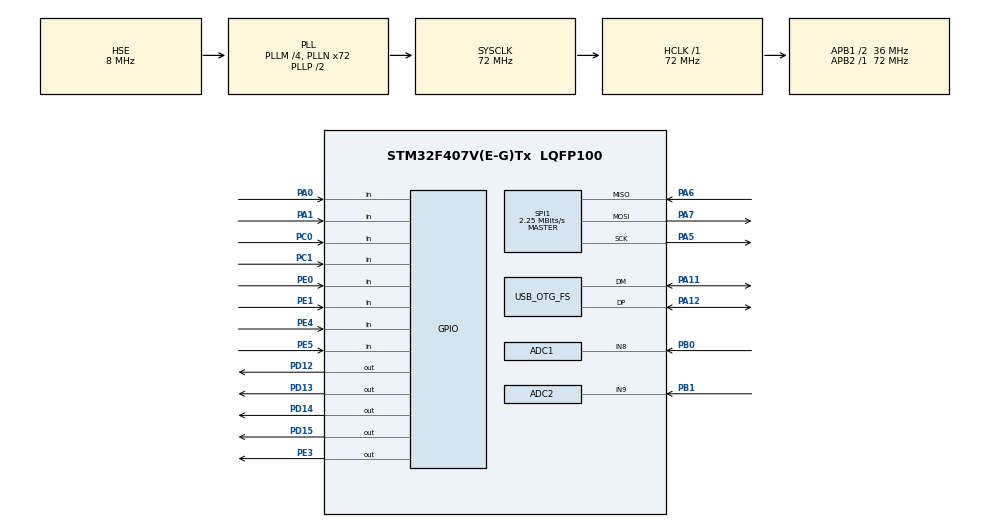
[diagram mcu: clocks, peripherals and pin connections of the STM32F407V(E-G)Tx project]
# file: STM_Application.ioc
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ADC1.Channel-13\#ChannelRegularConversion=ADC_CHANNEL_8
ADC1.NbrOfConversionFlag=1
ADC1.Rank-13\#ChannelRegularConversion=1
ADC1.SamplingTime-13\#ChannelRegularConversion=ADC_SAMPLETIME_3CYCLES
ADC1.master=1
ADC2.Channel-8\#ChannelRegularConversion=ADC_CHANNEL_9
ADC2.NbrOfConversionFlag=1
ADC2.Rank-8\#ChannelRegularConversion=1
ADC2.SamplingTime-8\#ChannelRegularConversion=ADC_SAMPLETIME_3CYCLES
Mcu.Family=STM32F4
Mcu.Name=STM32F407V(E-G)Tx
Mcu.Package=LQFP100
NVIC.OTG_FS_IRQn=true\:0\:0\:false\:false\:true\:false
NVIC.PriorityGroup=NVIC_PRIORITYGROUP_4
PA0-WKUP.GPIO_PuPd=GPIO_PULLUP
PA0-WKUP.Signal=GPIO_Input
PA1.GPIO_PuPd=GPIO_PULLUP
PA1.Signal=GPIO_Input
PA11.Mode=Device_Only
PA11.Signal=USB_OTG_FS_DM
PA12.Mode=Device_Only
PA12.Signal=USB_OTG_FS_DP
PA5.Mode=Full_Duplex_Master
PA5.Signal=SPI1_SCK
PA6.Mode=Full_Duplex_Master
PA6.Signal=SPI1_MISO
PA7.Mode=Full_Duplex_Master
PA7.Signal=SPI1_MOSI
PB0.Signal=ADCx_IN8
PB1.Signal=ADCx_IN9
PC0.GPIO_PuPd=GPIO_PULLUP
PC0.Signal=GPIO_Input
PC1.GPIO_PuPd=GPIO_PULLUP
PC1.Signal=GPIO_Input
PD12.Signal=GPIO_Output
PD13.Signal=GPIO_Output
PD14.Signal=GPIO_Output
PD15.Signal=GPIO_Output
PE0.GPIO_PuPd=GPIO_PULLDOWN
PE0.Signal=GPIO_Input
PE1.GPIO_PuPd=GPIO_PULLDOWN
PE1.Signal=GPIO_Input
PE3.Signal=GPIO_Output
PE4.GPIO_PuPd=GPIO_PULLDOWN
PE4.Signal=GPIO_Input
PE5.GPIO_PuPd=GPIO_PULLDOWN
PE5.Signal=GPIO_Input
PH0-OSC_IN.Mode=HSE-External-Oscillator
PH0-OSC_IN.Signal=RCC_OSC_IN
PH1-OSC_OUT.Mode=HSE-External-Oscillator
PH1-OSC_OUT.Signal=RCC_OSC_OUT
ProjectManager.HeapSize=0x200
ProjectManager.StackSize=0x400
ProjectManager.TargetToolchain=SW4STM32
RCC.48MHZClocksFreq_Value=48000000
RCC.AHBFreq_Value=72000000
RCC.APB1CLKDivider=RCC_HCLK_DIV2
RCC.APB1Freq_Value=36000000
RCC.APB1TimFreq_Value=72000000
RCC.APB2Freq_Value=72000000
RCC.APB2TimFreq_Value=72000000
RCC.CortexFreq_Value=72000000
RCC.HCLKFreq_Value=72000000
RCC.HSE_VALUE=8000000
RCC.HSI_VALUE=16000000
RCC.LSE_VALUE=32768
RCC.PLLM=4
RCC.PLLN=72
RCC.PLLQ=3
RCC.SYSCLKFreq_VALUE=72000000
RCC.SYSCLKSource=RCC_SYSCLKSOURCE_PLLCLK
RCC.VCOOutputFreq_Value=144000000
SH.ADCx_IN8.0=ADC1_IN8,IN8
SH.ADCx_IN9.0=ADC2_IN9,IN9
SPI1.BaudRatePrescaler=SPI_BAUDRATEPRESCALER_32
SPI1.CalculateBaudRate=2.25 MBits/s
SPI1.Direction=SPI_DIRECTION_2LINES
SPI1.Mode=SPI_MODE_MASTER
SPI1.VirtualType=VM_MASTER
USB_DEVICE.CLASS_NAME_FS=CDC
USB_DEVICE.VirtualMode-CDC_FS=Cdc
USB_DEVICE.VirtualModeFS=Cdc_FS
USB_OTG_FS.VirtualMode=Device_Only
VP_USB_DEVICE_VS_USB_DEVICE_CDC_FS.Mode=CDC_FS
board=custom

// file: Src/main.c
/* USER CODE BEGIN Header */
/**
  ******************************************************************************
  * @file           : main.c
  * @brief          : Main program body
  ******************************************************************************
  * This notice applies to any and all portions of this file
  * that are not between comment pairs USER CODE BEGIN and
  * USER CODE END. Other portions of this file, whether
  * inserted by the user or by software development tools
  * are owned by their respective copyright owners.
  *
  * Copyright (c) 2019 STMicroelectronics International N.V.
  * All rights reserved.
  *
  * Redistribution and use in source and binary forms, with or without
  * modification, are permitted, provided that the following conditions are met:
  *
  * 1. Redistribution of source code must retain the above copyright notice,
  *    this list of conditions and the following disclaimer.
  * 2. Redistributions in binary form must reproduce the above copyright notice,
  *    this list of conditions and the following disclaimer in the documentation
  *    and/or other materials provided with the distribution.
  * 3. Neither the name of STMicroelectronics nor the names of other
  *    contributors to this software may be used to endorse or promote products
  *    derived from this software without specific written permission.
  * 4. This software, including modifications and/or derivative works of this
  *    software, must execute solely and exclusively on microcontroller or
  *    microprocessor devices manufactured by or for STMicroelectronics.
  * 5. Redistribution and use of this software other than as permitted under
  *    this license is void and will automatically terminate your rights under
  *    this license.
  *
  * THIS SOFTWARE IS PROVIDED BY STMICROELECTRONICS AND CONTRIBUTORS "AS IS"
  * AND ANY EXPRESS, IMPLIED OR STATUTORY WARRANTIES, INCLUDING, BUT NOT
  * LIMITED TO, THE IMPLIED WARRANTIES OF MERCHANTABILITY, FITNESS FOR A
  * PARTICULAR PURPOSE AND NON-INFRINGEMENT OF THIRD PARTY INTELLECTUAL PROPERTY
  * RIGHTS ARE DISCLAIMED TO THE FULLEST EXTENT PERMITTED BY LAW. IN NO EVENT
  * SHALL STMICROELECTRONICS OR CONTRIBUTORS BE LIABLE FOR ANY DIRECT, INDIRECT,
  * INCIDENTAL, SPECIAL, EXEMPLARY, OR CONSEQUENTIAL DAMAGES (INCLUDING, BUT NOT
  * LIMITED TO, PROCUREMENT OF SUBSTITUTE GOODS OR SERVICES; LOSS OF USE, DATA,
  * OR PROFITS; OR BUSINESS INTERRUPTION) HOWEVER CAUSED AND ON ANY THEORY OF
  * LIABILITY, WHETHER IN CONTRACT, STRICT LIABILITY, OR TORT (INCLUDING
  * NEGLIGENCE OR OTHERWISE) ARISING IN ANY WAY OUT OF THE USE OF THIS SOFTWARE,
  * EVEN IF ADVISED OF THE POSSIBILITY OF SUCH DAMAGE.
  *
  ******************************************************************************
  */
/* USER CODE END Header */

#include "main.h"
#include "usb_device.h"

/* USER CODE BEGIN Includes */
#include "usbd_cdc_if.h"
#include "lis3dsh.h"
/* USER CODE END Includes */

ADC_HandleTypeDef hadc1;
ADC_HandleTypeDef hadc2;

SPI_HandleTypeDef hspi1;

/* USER CODE BEGIN PV */
uint8_t DataToSend[40]; // Tablica zawierajaca dane do wyslania
uint8_t MessageCounter = 0; // Licznik wyslanych wiadomosci
uint8_t MessageLength = 0; // Zawiera dlugosc wysylanej wiadomosci
float accX, accY, accZ, out[4]; // Zawiera dane z akcelerometru

uint16_t adc1val, adc2val; // Wartoœci odczytywane z fotorezystorów

// Do fotorezystorów
uint8_t switched1 = 0;
uint8_t switched2 = 0;
uint8_t switched3 = 0;
uint8_t switched4 = 0;

uint16_t limit = 1200;	// Limit dla ADC
/* USER CODE END PV */

void SystemClock_Config(void);
static void MX_GPIO_Init(void);
static void MX_SPI1_Init(void);
static void MX_ADC1_Init(void);
static void MX_ADC2_Init(void);

int main(void)
{

  /* MCU Configuration--------------------------------------------------------*/

  /* Reset of all peripherals, Initializes the Flash interface and the Systick. */
  HAL_Init();

  /* Configure the system clock */
  SystemClock_Config();

  /* Initialize all configured peripherals */
  MX_GPIO_Init();
  MX_USB_DEVICE_Init();
  MX_SPI1_Init();
  MX_ADC1_Init();
  MX_ADC2_Init();
  /* USER CODE BEGIN 2 */
  uint8_t data[6];
  data[0] = '0';
  data[1] = '0';
  data[2] = '0';
  data[3] = '0';
  data[4] = '0';
  data[5] = '0';
  char check = '0';

  LISInit(); // Akcelerometr
  /* USER CODE END 2 */

  /* Infinite loop */
  /* USER CODE BEGIN WHILE */
  while (1)
  {
//	  if(HAL_GPIO_ReadPin(GPIOE,GPIO_PIN_4) == GPIO_PIN_SET){
//		  HAL_GPIO_WritePin(GPIOD, GPIO_PIN_15, GPIO_PIN_SET);
//	  }
//	  else{
//		  HAL_GPIO_WritePin(GPIOD, GPIO_PIN_15, GPIO_PIN_RESET);
//	  }
//	  if(HAL_GPIO_ReadPin(GPIOE,GPIO_PIN_5) == GPIO_PIN_SET){
//	  		  HAL_GPIO_WritePin(GPIOD, GPIO_PIN_14, GPIO_PIN_SET);
//	  	  }
//	  	  else{
//	  		  HAL_GPIO_WritePin(GPIOD, GPIO_PIN_14, GPIO_PIN_RESET);
//	  	  }

	  if(HAL_GPIO_ReadPin(GPIOE,GPIO_PIN_4) == GPIO_PIN_SET && switched1==0)
	  {
		  switched1 = 1;

	  }
		  if(HAL_GPIO_ReadPin(GPIOE,GPIO_PIN_4) == GPIO_PIN_RESET && switched1==1)
		  {
			  switched1 = 2;
		  }

	  if(HAL_GPIO_ReadPin(GPIOE,GPIO_PIN_5) == GPIO_PIN_SET && switched2==0)
	  {
		  switched2 = 1;

	  }
		  if(HAL_GPIO_ReadPin(GPIOE,GPIO_PIN_5) == GPIO_PIN_RESET && switched2==1)
		  {
			  switched2 = 2;
		  }

	  HAL_ADC_Start(&hadc1);

	  if(HAL_ADC_PollForConversion(&hadc1, 10) == HAL_OK)
	  {
		  adc1val = HAL_ADC_GetValue(&hadc1);
	  }

	  HAL_ADC_Start(&hadc2);

	  if(HAL_ADC_PollForConversion(&hadc2, 10) == HAL_OK)
	  {
		  adc2val = HAL_ADC_GetValue(&hadc2);
	  }
//	  if(adc1val > limit){
//		  HAL_GPIO_WritePin(GPIOD, GPIO_PIN_13, GPIO_PIN_SET);
//	  }
//	  else{
//		  HAL_GPIO_WritePin(GPIOD, GPIO_PIN_13, GPIO_PIN_RESET);
//	  }
//	  if(adc2val > limit){
//	  		  HAL_GPIO_WritePin(GPIOD, GPIO_PIN_12, GPIO_PIN_SET);
//	  	  }
//	  	  else{
//	  		  HAL_GPIO_WritePin(GPIOD, GPIO_PIN_12, GPIO_PIN_RESET);
//	  	  }
	  if(adc1val > limit && switched3 == 0)
	  {
		  switched3 = 1;
	  }
		  if(adc1val <= limit && switched3 == 1)
		  {
			  switched3 = 2;
		  }

	  if(adc2val > limit && switched4 == 0)
	  {
		  switched4 = 1;
	  }
		  if(adc2val <= limit && switched4 == 1)
		  {
			  switched4 = 2;
		  }
	  // Odczytywanie wartoœci akcelerometru

	  LIS3DSH_ReadACC(out);
	  accX = out[0];
	  accY = out[1];
	  accZ = out[2];

	  // Warunek wyslania sygna³u o szarpniêciu

	  float wartosc = 0;

	  wartosc = accX*accX + accY*accY + accZ*accZ;

	  if(wartosc < 100000 || wartosc > 2000000)
	  {
		   data[4] = '1';
	  }
	  else
	  {
		   data[4] = '0';
	  }

	  if(switched1==2 || switched2==2 || switched3 == 2 || switched4 == 2)
	  {
		  data[5] = '1';

		  switched1 = 0;
		  switched2 = 0;
		  switched3 = 0;
		  switched4 = 0;
	  }
	  else data[5] = '0';
		  check='1';
		  if(HAL_GPIO_ReadPin(GPIOC,GPIO_PIN_0) == GPIO_PIN_RESET)
		  {
			  if(HAL_GPIO_ReadPin(GPIOC,GPIO_PIN_0) == GPIO_PIN_RESET)
			  {
				  data[1] = '1';
			  }
			  else
			  {
				  data[1] ='0';
			  }
		  }
		  else data[1] = '0';
		  if(HAL_GPIO_ReadPin(GPIOC,GPIO_PIN_1) == GPIO_PIN_RESET)
		  {
			  if(HAL_GPIO_ReadPin(GPIOC,GPIO_PIN_1) == GPIO_PIN_RESET)
			  {
				  data[0] = '1';
			  }
			  else {
				  data[0] = '0';
			  }
		  }
		  else data[0] = '0';
		  if(HAL_GPIO_ReadPin(GPIOA,GPIO_PIN_0) == GPIO_PIN_RESET)
		  {
			  if(HAL_GPIO_ReadPin(GPIOA,GPIO_PIN_0) == GPIO_PIN_RESET)
			  {
				  data[2] = '1';
			  }
			  else {
				  data[2] = '0';
			  }
		  }
		  else data[2] = '0';
		  if(HAL_GPIO_ReadPin(GPIOA,GPIO_PIN_1) == GPIO_PIN_RESET)
		  {
			  if(HAL_GPIO_ReadPin(GPIOA,GPIO_PIN_1) == GPIO_PIN_RESET)
			  {
				  data[3] = '1';
			  }
			  else {
				  data[3] = '0';
			  }
		  }
		  else data[3] = '0';
		  CDC_Transmit_FS(data,6);
		  HAL_Delay(10);
//	  char snum1[5];
//	  itoa(switched1, snum1, 10);
//	  char snum2[5];
//	  	  itoa(switched2, snum2, 10);
//	  	char snum3[5];
//	  		  itoa(switched3, snum3, 10);
//	  		char snum4[5];
//	  			  itoa(switched4, snum4, 10);
//	  strcat(snum1,snum2);
//	  strcat(snum1,snum3);
//	  	strcat(snum1,snum4);
//	  CDC_Transmit_FS(snum2,strlen(snum3));
	  HAL_Delay(10);
    /* USER CODE END WHILE */

  }
}

void SystemClock_Config(void)
{
  RCC_OscInitTypeDef RCC_OscInitStruct = {0};
  RCC_ClkInitTypeDef RCC_ClkInitStruct = {0};

  /**Configure the main internal regulator output voltage
  */
  __HAL_RCC_PWR_CLK_ENABLE();
  __HAL_PWR_VOLTAGESCALING_CONFIG(PWR_REGULATOR_VOLTAGE_SCALE1);
  /**Initializes the CPU, AHB and APB busses clocks
  */
  RCC_OscInitStruct.OscillatorType = RCC_OSCILLATORTYPE_HSE;
  RCC_OscInitStruct.HSEState = RCC_HSE_ON;
  RCC_OscInitStruct.PLL.PLLState = RCC_PLL_ON;
  RCC_OscInitStruct.PLL.PLLSource = RCC_PLLSOURCE_HSE;
  RCC_OscInitStruct.PLL.PLLM = 4;
  RCC_OscInitStruct.PLL.PLLN = 72;
  RCC_OscInitStruct.PLL.PLLP = RCC_PLLP_DIV2;
  RCC_OscInitStruct.PLL.PLLQ = 3;
  if (HAL_RCC_OscConfig(&RCC_OscInitStruct) != HAL_OK)
  {
    Error_Handler();
  }
  /**Initializes the CPU, AHB and APB busses clocks
  */
  RCC_ClkInitStruct.ClockType = RCC_CLOCKTYPE_HCLK|RCC_CLOCKTYPE_SYSCLK
                              |RCC_CLOCKTYPE_PCLK1|RCC_CLOCKTYPE_PCLK2;
  RCC_ClkInitStruct.SYSCLKSource = RCC_SYSCLKSOURCE_PLLCLK;
  RCC_ClkInitStruct.AHBCLKDivider = RCC_SYSCLK_DIV1;
  RCC_ClkInitStruct.APB1CLKDivider = RCC_HCLK_DIV2;
  RCC_ClkInitStruct.APB2CLKDivider = RCC_HCLK_DIV1;

  if (HAL_RCC_ClockConfig(&RCC_ClkInitStruct, FLASH_LATENCY_2) != HAL_OK)
  {
    Error_Handler();
  }
}

static void MX_ADC1_Init(void)
{

  ADC_ChannelConfTypeDef sConfig = {0};

  /**Configure the global features of the ADC (Clock, Resolution, Data Alignment and number of conversion)
  */
  hadc1.Instance = ADC1;
  hadc1.Init.ClockPrescaler = ADC_CLOCK_SYNC_PCLK_DIV2;
  hadc1.Init.Resolution = ADC_RESOLUTION_12B;
  hadc1.Init.ScanConvMode = DISABLE;
  hadc1.Init.ContinuousConvMode = DISABLE;
  hadc1.Init.DiscontinuousConvMode = DISABLE;
  hadc1.Init.ExternalTrigConvEdge = ADC_EXTERNALTRIGCONVEDGE_NONE;
  hadc1.Init.ExternalTrigConv = ADC_SOFTWARE_START;
  hadc1.Init.DataAlign = ADC_DATAALIGN_RIGHT;
  hadc1.Init.NbrOfConversion = 1;
  hadc1.Init.DMAContinuousRequests = DISABLE;
  hadc1.Init.EOCSelection = ADC_EOC_SINGLE_CONV;
  if (HAL_ADC_Init(&hadc1) != HAL_OK)
  {
    Error_Handler();
  }
  /**Configure for the selected ADC regular channel its corresponding rank in the sequencer and its sample time.
  */
  sConfig.Channel = ADC_CHANNEL_8;
  sConfig.Rank = 1;
  sConfig.SamplingTime = ADC_SAMPLETIME_3CYCLES;
  if (HAL_ADC_ConfigChannel(&hadc1, &sConfig) != HAL_OK)
  {
    Error_Handler();
  }

}

static void MX_ADC2_Init(void)
{

  ADC_ChannelConfTypeDef sConfig = {0};

  /**Configure the global features of the ADC (Clock, Resolution, Data Alignment and number of conversion)
  */
  hadc2.Instance = ADC2;
  hadc2.Init.ClockPrescaler = ADC_CLOCK_SYNC_PCLK_DIV2;
  hadc2.Init.Resolution = ADC_RESOLUTION_12B;
  hadc2.Init.ScanConvMode = DISABLE;
  hadc2.Init.ContinuousConvMode = DISABLE;
  hadc2.Init.DiscontinuousConvMode = DISABLE;
  hadc2.Init.ExternalTrigConvEdge = ADC_EXTERNALTRIGCONVEDGE_NONE;
  hadc2.Init.ExternalTrigConv = ADC_SOFTWARE_START;
  hadc2.Init.DataAlign = ADC_DATAALIGN_RIGHT;
  hadc2.Init.NbrOfConversion = 1;
  hadc2.Init.DMAContinuousRequests = DISABLE;
  hadc2.Init.EOCSelection = ADC_EOC_SINGLE_CONV;
  if (HAL_ADC_Init(&hadc2) != HAL_OK)
  {
    Error_Handler();
  }
  /**Configure for the selected ADC regular channel its corresponding rank in the sequencer and its sample time.
  */
  sConfig.Channel = ADC_CHANNEL_9;
  sConfig.Rank = 1;
  sConfig.SamplingTime = ADC_SAMPLETIME_3CYCLES;
  if (HAL_ADC_ConfigChannel(&hadc2, &sConfig) != HAL_OK)
  {
    Error_Handler();
  }

}

static void MX_SPI1_Init(void)
{

  /* SPI1 parameter configuration*/
  hspi1.Instance = SPI1;
  hspi1.Init.Mode = SPI_MODE_MASTER;
  hspi1.Init.Direction = SPI_DIRECTION_2LINES;
  hspi1.Init.DataSize = SPI_DATASIZE_8BIT;
  hspi1.Init.CLKPolarity = SPI_POLARITY_LOW;
  hspi1.Init.CLKPhase = SPI_PHASE_1EDGE;
  hspi1.Init.NSS = SPI_NSS_SOFT;
  hspi1.Init.BaudRatePrescaler = SPI_BAUDRATEPRESCALER_32;
  hspi1.Init.FirstBit = SPI_FIRSTBIT_MSB;
  hspi1.Init.TIMode = SPI_TIMODE_DISABLE;
  hspi1.Init.CRCCalculation = SPI_CRCCALCULATION_DISABLE;
  hspi1.Init.CRCPolynomial = 10;
  if (HAL_SPI_Init(&hspi1) != HAL_OK)
  {
    Error_Handler();
  }

}

static void MX_GPIO_Init(void)
{
  GPIO_InitTypeDef GPIO_InitStruct = {0};

  /* GPIO Ports Clock Enable */
  __HAL_RCC_GPIOE_CLK_ENABLE();
  __HAL_RCC_GPIOH_CLK_ENABLE();
  __HAL_RCC_GPIOC_CLK_ENABLE();
  __HAL_RCC_GPIOA_CLK_ENABLE();
  __HAL_RCC_GPIOB_CLK_ENABLE();
  __HAL_RCC_GPIOD_CLK_ENABLE();

  /*Configure GPIO pin Output Level */
  HAL_GPIO_WritePin(GPIOE, GPIO_PIN_3, GPIO_PIN_RESET);

  /*Configure GPIO pin Output Level */
  HAL_GPIO_WritePin(GPIOD, GPIO_PIN_12|GPIO_PIN_13|GPIO_PIN_14|GPIO_PIN_15, GPIO_PIN_RESET);

  /*Configure GPIO pin : PE3 */
  GPIO_InitStruct.Pin = GPIO_PIN_3;
  GPIO_InitStruct.Mode = GPIO_MODE_OUTPUT_PP;
  GPIO_InitStruct.Pull = GPIO_NOPULL;
  GPIO_InitStruct.Speed = GPIO_SPEED_FREQ_LOW;
  HAL_GPIO_Init(GPIOE, &GPIO_InitStruct);

  /*Configure GPIO pins : PE4 PE5 PE0 PE1 */
  GPIO_InitStruct.Pin = GPIO_PIN_4|GPIO_PIN_5|GPIO_PIN_0|GPIO_PIN_1;
  GPIO_InitStruct.Mode = GPIO_MODE_INPUT;
  GPIO_InitStruct.Pull = GPIO_PULLDOWN;
  HAL_GPIO_Init(GPIOE, &GPIO_InitStruct);

  /*Configure GPIO pins : PC0 PC1 */
  GPIO_InitStruct.Pin = GPIO_PIN_0|GPIO_PIN_1;
  GPIO_InitStruct.Mode = GPIO_MODE_INPUT;
  GPIO_InitStruct.Pull = GPIO_PULLUP;
  HAL_GPIO_Init(GPIOC, &GPIO_InitStruct);

  /*Configure GPIO pins : PA0 PA1 */
  GPIO_InitStruct.Pin = GPIO_PIN_0|GPIO_PIN_1;
  GPIO_InitStruct.Mode = GPIO_MODE_INPUT;
  GPIO_InitStruct.Pull = GPIO_PULLUP;
  HAL_GPIO_Init(GPIOA, &GPIO_InitStruct);

  /*Configure GPIO pins : PD12 PD13 PD14 PD15 */
  GPIO_InitStruct.Pin = GPIO_PIN_12|GPIO_PIN_13|GPIO_PIN_14|GPIO_PIN_15;
  GPIO_InitStruct.Mode = GPIO_MODE_OUTPUT_PP;
  GPIO_InitStruct.Pull = GPIO_NOPULL;
  GPIO_InitStruct.Speed = GPIO_SPEED_FREQ_LOW;
  HAL_GPIO_Init(GPIOD, &GPIO_InitStruct);

}

void Error_Handler(void)
{
}

/************************ (C) COPYRIGHT STMicroelectronics *****END OF FILE****/
